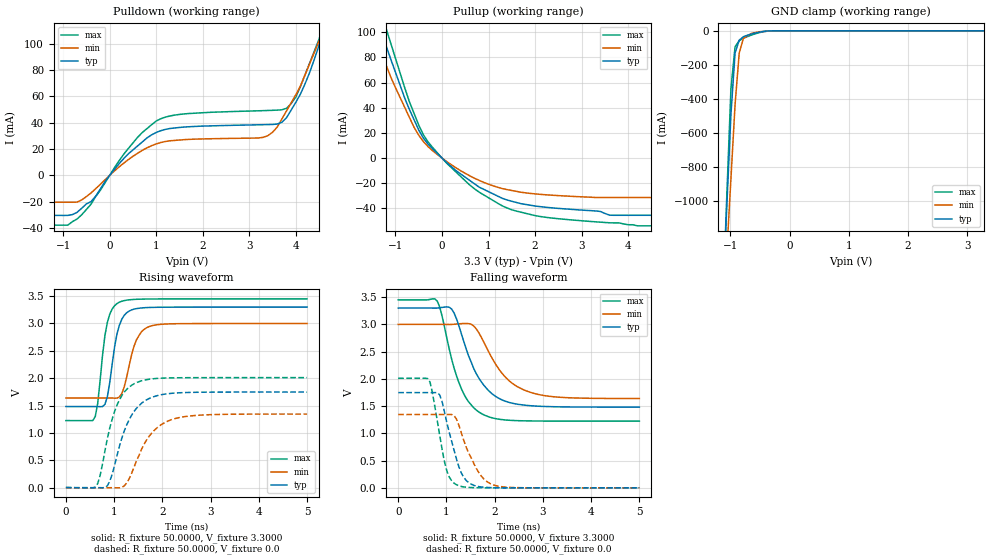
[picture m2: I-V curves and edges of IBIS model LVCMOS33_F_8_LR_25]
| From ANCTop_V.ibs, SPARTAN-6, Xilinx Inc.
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|   Model LVCMOS33_F_8_LR_25
[Model]  LVCMOS33_F_8_LR_25
Model_type I/O
Polarity   Non-Inverting
Enable   Active-Low
Vinl =   0.8000V
Vinh =   2.0000V
Vmeas =  1.6500V
Cref =   0.0F
Rref =   1.0000M
Vref =   0.0V
C_comp   6.08pF   5.79pF   6.38pF
|C_comp  6.55pF   6.18pF   6.90pF
[Temperature Range]   25.0000   85.0000   0.0
[Voltage Range]   3.3000V   3.0000V   3.4500V
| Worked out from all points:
|   slope of the pulldown table from 0 to 0.495 V, typ, clamps not added: 25.8 ohm
|   slope of the pullup table from 0 to 0.495 V, typ, clamps not added: 32.8 ohm
|   GND clamp passes 1 mA (typ) near -0.37 V on its own axis
|   rising waveform, R_fixture 50.0000, V_fixture 3.3000: 20-80 % time 204ps typ, 251ps min, 181ps max; typ from 1.48 V to 3.3 V
|   rising waveform, R_fixture 50.0000, V_fixture 0.0: 20-80 % time 425ps typ, 502ps min, 361ps max; typ from 0.005 V to 1.75 V
|   falling waveform, R_fixture 50.0000, V_fixture 3.3000: 20-80 % time 540ps typ, 632ps min, 447ps max; typ from 3.3 V to 1.48 V
|   falling waveform, R_fixture 50.0000, V_fixture 0.0: 20-80 % time 316ps typ, 395ps min, 245ps max; typ from 1.75 V to 0 V
[Pulldown]
|Voltage   I(typ)   I(min)   I(max)
-3.3V     -30.4mA    -20.4mA    -37.79mA
-900mV    -30.4mA    -20.4mA    -37.79mA
-400mV    -19.95mA   -13.32mA   -21.86mA
300mV     12.65mA    9.193mA    15.95mA
1V        32.53mA    23.85mA    41.21mA
1.6V      36.68mA    27.08mA    46.61mA
3.4V      38.53mA    30.11mA    49.22mA
3.7V      40.3mA     42.75mA    49.74mA
4V        55.4mA     61.16mA    59.49mA
4.3V      78.32mA    84.92mA    85.43mA
4.6V      109.1mA    111.2mA    114.9mA
6.6V      331.9mA    260.4mA    367.3mA
[Pullup]
|Voltage   I(typ)   I(min)   I(max)
-3.3V     307.4mA    262.7mA    333.7mA
-1.5V     123mA      102.4mA    141.4mA
-1.3V     100.3mA    83.3mA     115.4mA
-1.2V     88.91mA    73.76mA    102.8mA
-700mV    38.57mA    32.27mA    44.66mA
-500mV    22.29mA    18.21mA    26.19mA
-300mV    11.05mA    9.102mA    12.8mA
600mV     -17.86mA   -14.18mA   -21.53mA
1.4V      -33.3mA    -25.07mA   -39.66mA
2.2V      -38.95mA   -29.07mA   -46.89mA
3.6V      -45.33mA   -31.33mA   -51.4mA
6.6V      -45.44mA   -31.33mA   -53.8mA
[GND_clamp]
|Voltage   I(typ)   I(min)   I(max)
-3.3V     -18.52A    -15.36A    -21.95A
-1.13V    -1.576A    -1.741A    -1.622A
-1.06V    -1.033A    -1.304A    -972.3mA
-990mV    -491.6mA   -868.4mA   -339.8mA
-920mV    -129.2mA   -432.6mA   -93.44mA
-850mV    -55.09mA   -130.6mA   -57.8mA
-780mV    -34.6mA    -44.44mA   -43.32mA
-640mV    -18.05mA   -14.41mA   -24.46mA
-430mV    -2.792mA   -3.457mA   -4.527mA
-290mV    -120.4uA   -138.5uA   -718.9uA
3.28V     30.42nA    258.3nA    28.48nA
[POWER_clamp]
|Voltage   I(typ)   I(min)   I(max)
-3.28V    0A         0A         0A
-3.24V    0A         0A         0A
-3.2V     0A         0A         0A
0V        0A         0A         0A
[Ramp]
| variable   typ   min   max
dV/dt_r  1.0482/0.4232n   0.8070/0.5006n   1.2066/0.3598n
dV/dt_f  1.0908/0.5388n   0.8160/0.6315n   1.3344/0.4447n
R_load = 50.0000
[Rising Waveform]
R_fixture= 50.0000
V_fixture= 3.3000
V_fixture_min= 3.0000
V_fixture_max= 3.4500
|time   V(typ)   V(min)   V(max)
0s        1.483V     1.639V     1.226V
610ps     1.482V     1.639V     1.302V
760ps     1.483V     1.639V     2.421V
860ps     1.661V     1.639V     3.02V
1.01ns    2.572V     1.636V     3.325V
1.11ns    2.97V      1.658V     3.389V
1.21ns    3.148V     1.841V     3.418V
1.46ns    3.271V     2.694V     3.441V
1.72ns    3.291V     2.94V      3.446V
5ns       3.299V     2.999V     3.449V
[Rising Waveform]
R_fixture= 50.0000
V_fixture= 0.0
|time   V(typ)   V(min)   V(max)
0s        5.389mV    850nV      93.06uV
610ps     67.75uV    -4.499uV   11.39mV
710ps     222.8uV    -6.589uV   225.6mV
860ps     35.7mV     -29.54uV   898.3mV
1.11ns    756.3mV    -2.245mV   1.604V
1.26ns    1.145V     85.25mV    1.795V
1.46ns    1.447V     480.6mV    1.919V
1.77ns    1.646V     988.3mV    1.986V
2.27ns    1.729V     1.264V     2.007V
5ns       1.747V     1.345V     2.011V
[Falling Waveform]
R_fixture= 50.0000
V_fixture= 3.3000
V_fixture_min= 3.0000
V_fixture_max= 3.4500
|time   V(typ)   V(min)   V(max)
0s        3.3V       3V         3.45V
810ps     3.3V       3V         3.426V
910ps     3.312V     3V         3.152V
1.11ns    3.28V      3V         2.355V
1.31ns    2.827V     3.014V     1.819V
1.57ns    2.182V     2.966V     1.466V
1.77ns    1.89V      2.682V     1.342V
2.17ns    1.607V     2.085V     1.251V
2.68ns    1.512V     1.772V     1.229V
5ns       1.482V     1.64V      1.226V
[Falling Waveform]
R_fixture= 50.0000
V_fixture= 0.0
|time   V(typ)   V(min)   V(max)
0s        1.748V     1.346V     2.011V
660ps     1.748V     1.346V     1.938V
860ps     1.706V     1.346V     968.7mV
1.01ns    1.192V     1.346V     304.5mV
1.21ns    522.9mV    1.259V     55.76mV
1.31ns    271.8mV    1.007V     25.39mV
1.46ns    95.7mV     640.9mV    8.068mV
1.72ns    16.32mV    219mV      1.3mV
1.97ns    3.343mV    55.57mV    299.8uV
5ns       99.35uV    196.7uV    136.5uV
